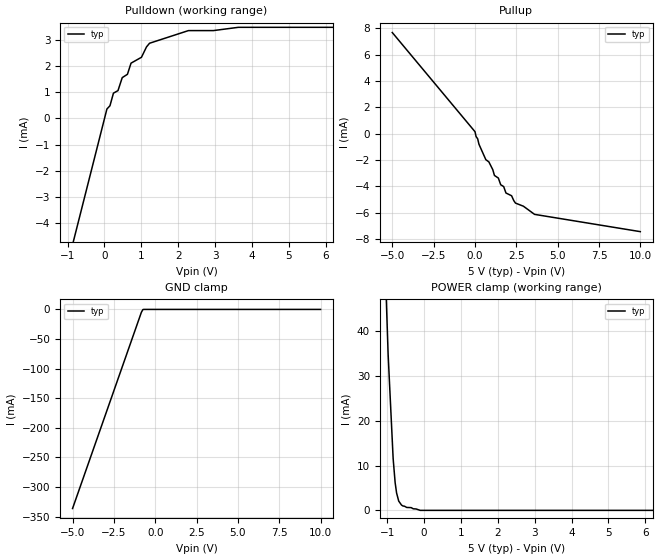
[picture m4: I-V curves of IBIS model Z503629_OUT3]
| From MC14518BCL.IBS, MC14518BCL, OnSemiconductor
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| (C) COPYRIGHT 1993-2000
| MENTOR GRAPHICS CORPORATION
| ICX STANDARD LIBRARY, ICX PROJECT MODELING,
| ICX CUSTOM MODELING, ICX VENDOR MODEL
| ALL RIGHTS RESERVED.
| THE FOLLOWING ARE TRADEMARKS OR SERVICE MARKS OF
| MENTOR GRAPHICS CORPORATION:ICX (R), ICX STANDARD
| LIBRARY(R), ICX PROJECT MODELING(R), ICX CUSTOM
| MODELING(R), qualityIBIS(TM), MODELVIEWER(TM),
| AND MODELEDITOR(TM)
| ALL COPIES OF SOFTWARE, INCLUDING BUT NOT LIMITED TO
| ANY MODIFICATIONS, ENHANCEMENTS OR DERIVATIVE WORKS,
| MUST CONTAIN ALL MENTOR GRAPHICS CORPORATION'S
| NOTICES AND LEGENDS, INCLUDING THOSE EMBEDDED IN
| SOFTWARE AND THOSE AFFIXED TO SOFTWARE MEDIUM
| AND CONTAINER, AS RECEIVED FROM MENTOR GRAPHICS
| CORPORATION.
| Model Application Version 1.89 2/18/99.
[Model] Z503629_OUT3
Model_type Output
Vref=0.000V
Rref=500.0Mohms
Cref=50.00pF
Vmeas=2.500V
C_comp 8.000pF NA NA
| variable typ   min   max
[Voltage Range] 5.000V NA NA
[POWER Clamp Reference] 5.000V NA NA
[Pullup Reference] 5.000V NA NA
[Pulldown Reference] 0.000V NA NA
[GND Clamp Reference] 0.000V NA NA
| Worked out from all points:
|   slope of the pulldown table from 0 to 0.75 V, typ, clamps not added: 348 ohm
|   slope of the pullup table from 0 to 0.75 V, typ, clamps not added: 339 ohm
|   GND clamp passes 1 mA (typ) near -0.76 V on its own axis
|   POWER clamp passes 1 mA (typ) near -0.58 V on its own axis
[GND Clamp]
-5V       -336.4mA   NA         NA
-839.4mV  -5.034mA   NA         NA
-746.6mV  -253.7uA   NA         NA
-684.4mV  0A         NA         NA
10V       0A         NA         NA
[Pulldown]
-5V       -27.84mA   NA         NA
68.21mV   359.8uA    NA         NA
245.5mV   965.5uA    NA         NA
368.8mV   1.063mA    NA         NA
483.9mV   1.559mA    NA         NA
625mV     1.686mA    NA         NA
722.7mV   2.112mA    NA         NA
1.006V    2.337mA    NA         NA
1.224V    2.872mA    NA         NA
2.28V     3.356mA    NA         NA
3.633V    3.481mA    NA         NA
10V       3.481mA    NA         NA
[Pullup]
-5V       7.67mA     NA         NA
5mV       136.8uA    NA         NA
243mV     -816uA     NA         NA
659mV     -1.986mA   NA         NA
1.078V    -2.742mA   NA         NA
1.179V    -3.183mA   NA         NA
1.416V    -3.382mA   NA         NA
1.875V    -4.516mA   NA         NA
2.216V    -4.726mA   NA         NA
2.452V    -5.283mA   NA         NA
3.605V    -6.139mA   NA         NA
10V       -7.451mA   NA         NA
[POWER Clamp]
-5V       1.176A     NA         NA
-1.133V   73.7mA     NA         NA
-976mV    34.87mA    NA         NA
-840mV    11.57mA    NA         NA
-786mV    6.202mA    NA         NA
-747mV    3.895mA    NA         NA
-689mV    2.074mA    NA         NA
-613mV    1.183mA    NA         NA
-472mV    651.3uA    NA         NA
-352mV    612.9uA    NA         NA
-107.5mV  0A         NA         NA
10V       0A         NA         NA
[Ramp]
| variable typ min max
dV/dt_r 2.649/12.06n NA NA
dV/dt_f 2.649/15.16n NA NA
R_load = 2.500kOhms
